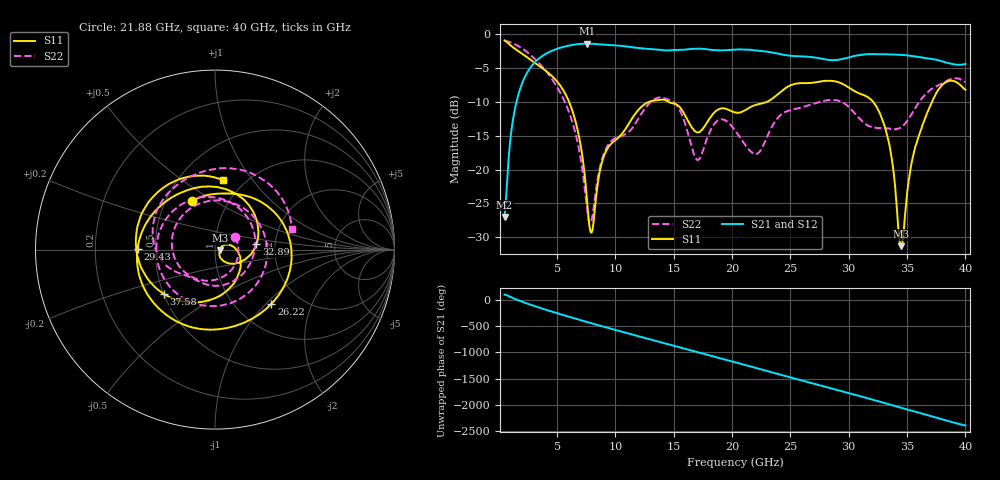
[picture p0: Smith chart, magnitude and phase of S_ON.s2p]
!Agilent Technologies,N5230C,MY49000812,A.09.42.18
!Agilent N5230C: A.09.42.18
!Date: Friday, September 06, 2013 15:52:46
!Correction: S11(Full 2 Port(1,2))
!S21(Full 2 Port(1,2))
!S12(Full 2 Port(1,2))
!S22(Full 2 Port(1,2))
!S2P File: Measurements: S11, S21, S12, S22:
# Hz S  dB  R 50
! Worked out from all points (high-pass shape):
!   801 points, 500 MHz to 40 GHz, reference 50 ohm
!   highest |S21| = -1.37 dB at 7.561 GHz (marker M1); lowest = -27.0 dB at 500 MHz (marker M2)
!   |S21| within 3 dB of the highest: 2.961 GHz to 38.85 GHz (35.89 GHz wide, 172 % of centre)
!   lowest |S11| = -31.3 dB at 34.52 GHz (marker M3), VSWR 1.06, Z = 52.8 - j0.448 ohm
!   |S11| at or under -10 dB: 6.031 GHz to 12.84 GHz (6.809 GHz wide, 72.2 % of centre); 14.56 GHz to 22.96 GHz (8.395 GHz wide, 44.7 % of centre); 32.09 GHz to 37.13 GHz (5.033 GHz wide, 14.5 % of centre)
!   |S22| runs from -28.0 to -0.9 dB; largest |S21 - S12| = 0.018
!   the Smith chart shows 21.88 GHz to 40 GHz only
!   S11 on the Smith chart (normalised r, x): 21.88 GHz: 0.68, +0.40; 26.22 GHz: 1.45, -1.08; 29.43 GHz: 0.40, +0.00; 32.89 GHz: 1.60, +0.11; 37.58 GHz: 0.50, -0.29; 40 GHz: 0.80, +0.73
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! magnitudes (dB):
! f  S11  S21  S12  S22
! 500 MHz  -0.9  -27.0  -27.0  -0.9
! 1.191 GHz  -1.9  -12.9  -12.9  -1.3
! 2.228 GHz  -3.1  -6.3  -6.3  -2.3
! 5.536 GHz  -8.3  -1.9  -1.8  -9.5
! 7.116 GHz  -17.4  -1.4  -1.4  -19.5
! 7.561 GHz  -24.4  -1.4  -1.4  -25.8
! 7.956 GHz  -29.3  -1.4  -1.4  -27.5
! 9.239 GHz  -17.1  -1.6  -1.5  -16.7
! 13.68 GHz  -9.7  -2.3  -2.2  -9.3
! 17.04 GHz  -14.5  -2.1  -2.1  -18.6
! 18.72 GHz  -11.2  -2.4  -2.3  -12.8
! 20.25 GHz  -11.6  -2.2  -2.2  -14.2
! 21.88 GHz  -10.5  -2.4  -2.3  -17.6
! 26.22 GHz  -7.2  -3.3  -3.3  -10.7
! 26.87 GHz  -7.2  -3.4  -3.4  -10.3
! 29.43 GHz  -7.3  -3.7  -3.6  -10.0
! 32.89 GHz  -12.6  -2.9  -2.9  -13.8
! 33.43 GHz  -16.0  -3.0  -3.0  -13.9
! 34.52 GHz  -31.3  -3.0  -3.0  -13.7
! 35.56 GHz  -17.7  -3.2  -3.2  -11.3
! 37.58 GHz  -8.5  -3.8  -3.8  -7.6
! 40 GHz  -8.2  -4.4  -4.4  -7.1
